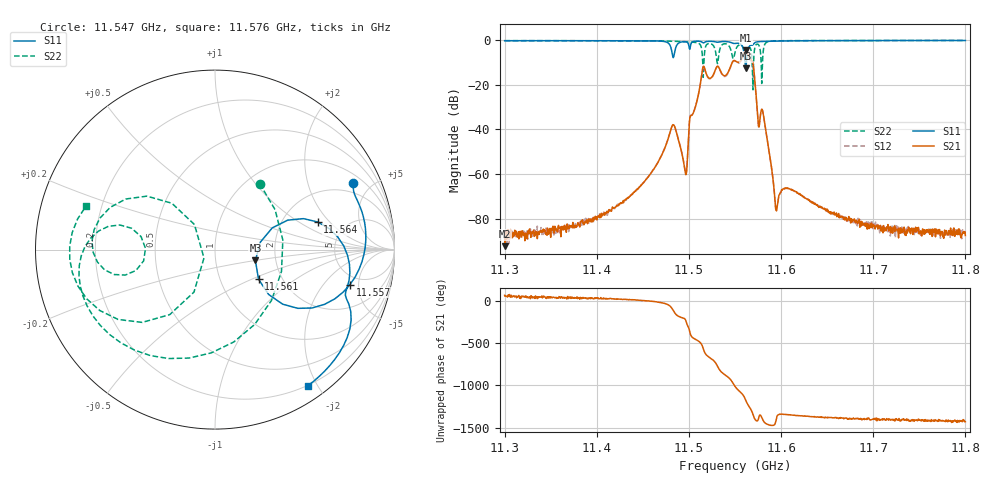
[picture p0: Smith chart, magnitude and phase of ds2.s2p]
! Created with skrf (http://scikit-rf.org).
# Hz S RI R 50.0
!freq ReS11 ImS11 ReS21 ImS21 ReS12 ImS12 ReS22 ImS22
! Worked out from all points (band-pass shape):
!   1001 points, 11.3 GHz to 11.8 GHz, reference 50 ohm
!   highest |S21| = -4.58 dB at 11.562 GHz (marker M1); lowest = -92.2 dB at 11.3 GHz (marker M2)
!   |S21| within 3 dB of the highest: 11.55814 GHz to 11.56506 GHz (6.921 MHz wide, 0.0599 % of centre)
!   lowest |S11| = -12.7 dB at 11.562 GHz (marker M3), VSWR 1.61, Z = 78.2 - j9.99 ohm
!   |S11| at or under -10 dB: 11.56087 GHz to 11.56237 GHz (1.501 MHz wide, 0.013 % of centre)
!   |S22| runs from -22.3 to -0.2 dB; largest |S21 - S12| = 0.019
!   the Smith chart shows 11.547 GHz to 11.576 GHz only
!   S11 on the Smith chart (normalised r, x): 11.547 GHz: 1.40, +3.88; 11.557 GHz: 3.99, -3.92; 11.561 GHz: 1.52, -0.55; 11.564 GHz: 3.13, +1.49; 11.576 GHz: 0.20, -1.88
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1.13e10  -0.8065 0.5281  1.89e-05 3.48e-05  3.63e-05 3.82e-05  -0.7558 0.5989
1.13005e10  -0.8056 0.5293  1.59e-05 1.87e-05  2.63e-05 1.81e-05  -0.7546 0.6001
1.13835e10  -0.6153 0.7411  7.46e-05 4.48e-05  6.54e-05 3.78e-05  -0.5074 0.8191
1.1467e10  -0.00525 0.9488  0.00184 -0.000623  0.00186 -0.000638  0.394 0.8689
1.14835e10  -0.1361 -0.3985  -0.00747 -0.0102  -0.00755 -0.0103  0.8282 0.4406
1.1496e10  -0.2762 0.8748  -0.000827 0.000736  -0.000826 0.000792  0.8297 -0.3836
1.15055e10  -0.1859 0.9107  0.0012 -0.0256  -0.000288 -0.0259  0.0996 -0.8832
1.1516e10  0.0635 0.8629  -0.1956 0.1718  -0.1896 0.1782  -0.0166 -0.2093
1.15245e10  0.265 0.8956  0.122 0.0782  0.1208 0.072  -0.8117 0.00307
1.15315e10  0.4045 0.7957  0.1084 -0.2337  0.1014 -0.2363  0.2874 -0.158
1.15395e10  0.6341 0.6724  -0.1494 -0.057  -0.1451 -0.0506  -0.8219 0.0265
1.1547e10  0.7693 0.3728  -0.1572 0.2746  -0.1526 0.2702  0.2493 0.3671
1.155e10  0.7921 0.2753  0.1295 0.3191  0.1364 0.3088  0.1047 -0.5147
1.1557e10  0.7522 -0.1947  0.3617 -0.0764  0.3441 -0.0749  -0.7563 -0.0903
1.1561e10  0.2424 -0.1648  0.1069 -0.5706  0.1055 -0.5574  -0.4121 0.0728
1.15615e10  0.225 -0.0603  -0.018 -0.5896  -0.0196 -0.5773  -0.3871 0.00663
1.1564e10  0.5717 0.154  -0.403 -0.25  -0.3921 -0.2349  -0.6153 -0.1126
1.1576e10  0.5186 -0.7575  0.00415 0.0105  0.00371 0.0102  -0.7171 0.2449
1.1595e10  -0.5556 -0.7641  0.000106 0.000108  8.96e-05 0.000123  -0.9556 0.0597
1.16335e10  -0.9584 0.1009  7.88e-05 0.000213  6.95e-05 0.000224  -0.8358 0.4929
1.1717e10  -0.677 0.6972  3.73e-05 3.87e-05  5.39e-05 3.08e-05  -0.5695 0.7907
1.18e10  -0.4133 0.8838  4.16e-05 8.33e-06  5.42e-05 1.32e-05  -0.3443 0.9137
